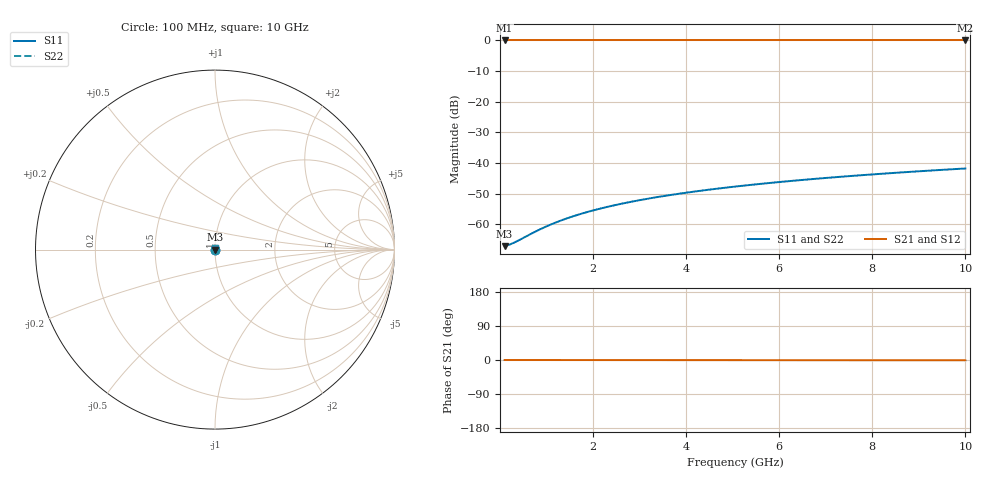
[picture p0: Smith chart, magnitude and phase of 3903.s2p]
# Hz S RI R 50.00
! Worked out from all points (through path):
!   100 points, 100 MHz to 10 GHz, reference 50 ohm
!   highest |S21| = 0.00 dB at 100 MHz (marker M1); lowest = 0.0 dB at 10 GHz (marker M2)
!   lowest |S11| = -67.1 dB at 100 MHz (marker M3), VSWR 1.00, Z = 50 + j0.00811 ohm
!   |S11| at or under -10 dB: start of sweep to end of sweep
!   |S22| runs from -67.1 to -41.8 dB; largest |S21 - S12| = 0
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1e8  0.000432 8.1e-05  0.9996 -0.000134  0.9996 -0.000134  0.000432 8.1e-05
2e8  0.000435 0.000162  0.9996 -0.000269  0.9996 -0.000269  0.000435 0.000162
3e8  0.000437 0.000243  0.9996 -0.000403  0.9996 -0.000403  0.000437 0.000243
8e8  0.000445 0.000648  0.9996 -0.00107  0.9996 -0.00107  0.000445 0.000648
9e8  0.000446 0.000729  0.9996 -0.00121  0.9996 -0.00121  0.000446 0.000729
1.1e9  0.000448 0.000892  0.9996 -0.00148  0.9996 -0.00148  0.000448 0.000892
1.4e9  0.000451 0.00113  0.9995 -0.00188  0.9995 -0.00188  0.000451 0.00113
1.6e9  0.000453 0.0013  0.9995 -0.00215  0.9995 -0.00215  0.000453 0.0013
1.8e9  0.000455 0.00146  0.9995 -0.00242  0.9995 -0.00242  0.000455 0.00146
2.1e9  0.000458 0.0017  0.9995 -0.00282  0.9995 -0.00282  0.000458 0.0017
2.5e9  0.000462 0.00203  0.9995 -0.00336  0.9995 -0.00336  0.000462 0.00203
2.9e9  0.000466 0.00235  0.9995 -0.0039  0.9995 -0.0039  0.000466 0.00235
3.4e9  0.000472 0.00276  0.9995 -0.00457  0.9995 -0.00457  0.000472 0.00276
3.8e9  0.000476 0.00308  0.9995 -0.00511  0.9995 -0.00511  0.000476 0.00308
4.2e9  0.000481 0.00341  0.9995 -0.00565  0.9995 -0.00565  0.000481 0.00341
4.6e9  0.000487 0.00373  0.9995 -0.00618  0.9995 -0.00618  0.000487 0.00373
5.1e9  0.000494 0.00414  0.9995 -0.00686  0.9995 -0.00686  0.000494 0.00414
5.9e9  0.000506 0.00479  0.9995 -0.00794  0.9995 -0.00794  0.000506 0.00479
6.7e9  0.00052 0.00544  0.9995 -0.00902  0.9995 -0.00902  0.00052 0.00544
7.5e9  0.000535 0.00609  0.9995 -0.0101  0.9995 -0.0101  0.000535 0.00609
8.4e9  0.000554 0.00682  0.9994 -0.0113  0.9994 -0.0113  0.000554 0.00682
1e10  0.000591 0.00813  0.9994 -0.0135  0.9994 -0.0135  0.000591 0.00813
